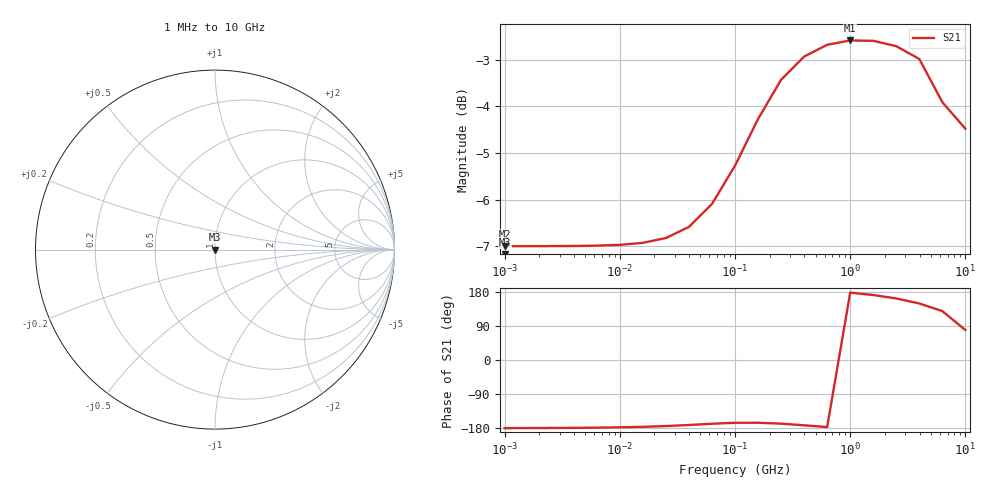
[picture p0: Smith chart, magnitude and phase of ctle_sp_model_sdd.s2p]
!ctle_sp, differential mode, SHIPPED MODEL measured in the SystemVerilog simulator
!SDD21 only: the other three slots are zero and are not measurements
! ports: 1=diff_in (100 ohm)  2=diff_out (2000 ohm)
! measured by model simulated in xezim, I/Q demodulated
! deck  /home/vraje/s2r_runs/ctle_sparams/ctle_sp_ports.cir
! port_map  /home/vraje/spice2rnm-demos/netlists/ctle_sp_ports.json
! tool  git 2775a83
! note: SDD21 only. SDD11, SDD22 and the mode-conversion terms are NOT modelled; the transistor file beside this one carries them.
[Version] 2.0
# HZ S RI R 100
[Number of Ports] 2
[Two-Port Data Order] 21_12
[Reference] 100 2000
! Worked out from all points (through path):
!   21 points, 1 MHz to 10 GHz, reference per port
!   highest |S21| = -2.58 dB at 1 GHz (marker M1); lowest = -7.0 dB at 1 MHz (marker M2)
!   lowest |S11| = - dB at 1 MHz (marker M3), VSWR 1.00
!   |S11| at or under -10 dB: start of sweep to end of sweep
!   S12 and S22 are empty: the file has one direction only
[Number of Frequencies] 21
[Network Data]
1000000  0 0  -0.4468 -0.00184  0 0  0 0
1584893  0 0  -0.4468 -0.00292  0 0  0 0
2511886  0 0  -0.4468 -0.00462  0 0  0 0
3981072  0 0  -0.4469 -0.00732  0 0  0 0
6309573  0 0  -0.4472 -0.0116  0 0  0 0
1e7  0 0  -0.4479 -0.0183  0 0  0 0
1.584893e7  0 0  -0.4495 -0.0289  0 0  0 0
2.511886e7  0 0  -0.4536 -0.0452  0 0  0 0
3.981072e7  0 0  -0.4634 -0.0692  0 0  0 0
6.309573e7  0 0  -0.4854 -0.1014  0 0  0 0
1e8  0 0  -0.5281 -0.1348  0 0  0 0
1.584893e8  0 0  -0.5924 -0.1522  0 0  0 0
2.511886e8  0 0  -0.6592 -0.1402  0 0  0 0
3.981072e8  0 0  -0.7073 -0.0952  0 0  0 0
6.309573e8  0 0  -0.7337 -0.0387  0 0  0 0
1e9  0 0  -0.7421 0.0279  0 0  0 0
1.584893e9  0 0  -0.7337 0.1108  0 0  0 0
2.511886e9  0 0  -0.6978 0.2218  0 0  0 0
3.981072e9  0 0  -0.6095 0.3631  0 0  0 0
6.309573e9  0 0  -0.4011 0.4955  0 0  0 0
1e10  0 0  0.113 0.5863  0 0  0 0
[End]
